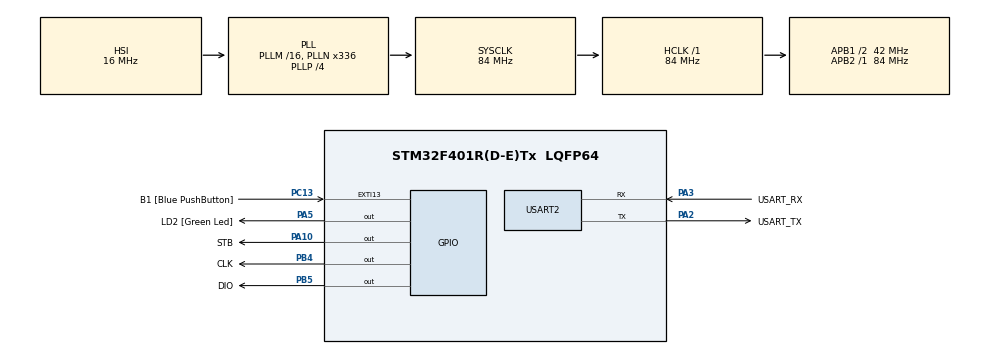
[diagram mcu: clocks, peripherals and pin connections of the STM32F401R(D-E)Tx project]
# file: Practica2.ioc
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Mcu.Family=STM32F4
Mcu.Name=STM32F401R(D-E)Tx
Mcu.Package=LQFP64
NVIC.PriorityGroup=NVIC_PRIORITYGROUP_4
PA10.GPIO_Label=STB
PA10.Signal=GPIO_Output
PA13.GPIO_Label=TMS
PA13.Mode=Trace_Asynchronous_SW
PA13.Signal=SYS_JTMS-SWDIO
PA14.GPIO_Label=TCK
PA14.Mode=Trace_Asynchronous_SW
PA14.Signal=SYS_JTCK-SWCLK
PA2.GPIO_Label=USART_TX
PA2.GPIO_Mode=GPIO_MODE_AF_PP
PA2.GPIO_PuPd=GPIO_NOPULL
PA2.GPIO_Speed=GPIO_SPEED_FREQ_LOW
PA2.Mode=Asynchronous
PA2.Signal=USART2_TX
PA3.GPIO_Label=USART_RX
PA3.GPIO_Mode=GPIO_MODE_AF_PP
PA3.GPIO_PuPd=GPIO_NOPULL
PA3.GPIO_Speed=GPIO_SPEED_FREQ_LOW
PA3.Mode=Asynchronous
PA3.Signal=USART2_RX
PA5.GPIO_Label=LD2 [Green Led]
PA5.GPIO_Mode=GPIO_MODE_OUTPUT_PP
PA5.GPIO_PuPd=GPIO_NOPULL
PA5.GPIO_Speed=GPIO_SPEED_FREQ_LOW
PA5.Signal=GPIO_Output
PB3.GPIO_Label=SWO
PB3.Mode=Trace_Asynchronous_SW
PB3.Signal=SYS_JTDO-SWO
PB4.GPIO_Label=CLK
PB4.Signal=GPIO_Output
PB5.GPIO_Label=DIO
PB5.Signal=GPIO_Output
PC13-ANTI_TAMP.GPIO_Label=B1 [Blue PushButton]
PC13-ANTI_TAMP.GPIO_ModeDefaultEXTI=GPIO_MODE_IT_FALLING
PC13-ANTI_TAMP.GPIO_PuPd=GPIO_NOPULL
PC13-ANTI_TAMP.Signal=GPXTI13
PC14-OSC32_IN.Mode=LSE-External-Oscillator
PC14-OSC32_IN.Signal=RCC_OSC32_IN
PC15-OSC32_OUT.Mode=LSE-External-Oscillator
PC15-OSC32_OUT.Signal=RCC_OSC32_OUT
PH0\ -\ OSC_IN.Mode=HSE-External-Clock-Source
PH0\ -\ OSC_IN.Signal=RCC_OSC_IN
PH1\ -\ OSC_OUT.Mode=HSE-External-Clock-Source
PH1\ -\ OSC_OUT.Signal=RCC_OSC_OUT
ProjectManager.HeapSize=0x200
ProjectManager.StackSize=0x400
ProjectManager.TargetToolchain=STM32CubeIDE
RCC.48MHZClocksFreq_Value=48000000
RCC.AHBFreq_Value=84000000
RCC.APB1CLKDivider=RCC_HCLK_DIV2
RCC.APB1Freq_Value=42000000
RCC.APB1TimFreq_Value=84000000
RCC.APB2Freq_Value=84000000
RCC.APB2TimFreq_Value=84000000
RCC.CortexFreq_Value=84000000
RCC.HCLKFreq_Value=84000000
RCC.HSE_VALUE=8000000
RCC.HSI_VALUE=16000000
RCC.PLLN=336
RCC.PLLP=RCC_PLLP_DIV4
RCC.PLLQ=7
RCC.SYSCLKFreq_VALUE=84000000
RCC.SYSCLKSource=RCC_SYSCLKSOURCE_PLLCLK
RCC.VCOOutputFreq_Value=336000000
USART2.VirtualMode=VM_ASYNC
board=NUCLEO-F401RE

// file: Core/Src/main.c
/* USER CODE BEGIN Header */
/**
  ******************************************************************************
  * @file           : main.c
  * @brief          : Main program body
  ******************************************************************************
  * @attention
  *
  * Copyright (c) 2026 STMicroelectronics.
  * All rights reserved.
  *
  * This software is licensed under terms that can be found in the LICENSE file
  * in the root directory of this software component.
  * If no LICENSE file comes with this software, it is provided AS-IS.
  *
  ******************************************************************************
  */
/* USER CODE END Header */
#include <stdio.h>
#include "main.h"
#include "TM1638.h"

/* USER CODE BEGIN PTD */
TM1638 TM;
#define RECORRIDO_CM 300
#define PASO_CM 3
#define TICK_MOV_MS 100
#define ANTIRREBOTE_MS 50
/* USER CODE END PTD */

UART_HandleTypeDef huart2;

void SystemClock_Config(void);
static void MX_GPIO_Init(void);
static void MX_USART2_UART_Init(void);

/* USER CODE BEGIN 0 */

enum Estado{
	CERRADO,
	ABRIENDO,
	ABIERTO,
	CERRANDO,
	PARADO_ABRIENDO,
	PARADO_CERRANDO,
	PARADO_FOTOCELULA
};

bool detectarFlanco(){ //Codigo antirrebotes dado
	static bool estable=false;
	static bool ultimo=false;
	static uint32_t tCambio=0;
	bool crudo=(HAL_GPIO_ReadPin(B1_GPIO_Port, B1_Pin)==GPIO_PIN_RESET);
	//Si no coincide es que el boton se pulso
	if(crudo!=ultimo){
		ultimo=crudo;
		tCambio=HAL_GetTick();
	}
	if((HAL_GetTick()-tCambio)>=ANTIRREBOTE_MS && crudo!=estable){
		estable=crudo;
		return estable;
	}
	return false;
}

void controlPanel(enum Estado estado, int posicion){
	//Control de la pantalla. Los sprint son para convertir a string, como las funciones de hae
	char texto[9];
	switch(estado){
		case CERRADO:
			tm1638_DisplayTxt(&TM, "cErrAdA");
			break;
		case ABRIENDO:
			sprintf(texto, "%2d", posicion);
			tm1638_DisplayTxt(&TM,texto);
			break;
		case ABIERTO:
			tm1638_DisplayTxt(&TM, "AbiErtA");
			break;
		case CERRANDO:
			sprintf(texto, "%2d", posicion);
			tm1638_DisplayTxt(&TM,texto);
			break;
		case PARADO_ABRIENDO:
		case PARADO_CERRANDO:
		case PARADO_FOTOCELULA:
			tm1638_DisplayTxt(&TM, "PArAdA");
			break;
	}
	//Control de los leds
	int ledsEncendidos=(posicion*8)/RECORRIDO_CM;
	for(int i=1; i<=8; i++){
		if(i<=ledsEncendidos){
			tm1638_Led(&TM,i,1);
		}
		else{
			tm1638_Led(&TM,i,0);
		}
	}
}

/* USER CODE END 0 */

int main(void)
{

  /* MCU Configuration--------------------------------------------------------*/

  /* Reset of all peripherals, Initializes the Flash interface and the Systick. */
  HAL_Init();

  /* Configure the system clock */
  SystemClock_Config();

  /* Initialize all configured peripherals */
  MX_GPIO_Init();
  MX_USART2_UART_Init();
  //Como en hae, inicializacion de puertos y del display
  TM.clk_port = CLK_GPIO_Port;
  TM.clk_pin = CLK_Pin;
  TM.stb_port = STB_GPIO_Port;
  TM.stb_pin = STB_Pin;
  TM.dio_port = DIO_GPIO_Port;
  TM.dio_pin = DIO_Pin;

  tm1638_TurnOn(&TM, 7);
  tm1638_DisplayClear(&TM);

  enum Estado estado=CERRADO;
  int posicion=0;
  //static uint32_t tMov=0;

  /* Infinite loop */
  while (1)
  {
	  bool pulsacionBoton=detectarFlanco();
	  uint8_t teclas=tm1638_ScanButtons(&TM);
	  bool fotocelula=tm1638_KeyState(&TM, teclas, 1);

	  //Temporizacion de tiempos
	  static uint32_t tMov=0;
	  bool tick=(HAL_GetTick()-tMov)>=TICK_MOV_MS;
	  	  if(tick){
	  		  tMov+=TICK_MOV_MS;
	  }

	  switch(estado){
	  	  case CERRADO:
	  		  if(pulsacionBoton){
	  			  estado=ABRIENDO;
	  		  }
	  		  break;
	  	  case ABRIENDO:
	  		  if(pulsacionBoton){
	  			  estado=PARADO_ABRIENDO;
	  		  }
	  		  if(tick){
	  			  posicion+=PASO_CM;
	  			  if(posicion>=RECORRIDO_CM){
	  				  posicion=RECORRIDO_CM;
	  				  estado=ABIERTO;
	  			  }
	  		  }
	  		  break;
	  	  case ABIERTO:
	  		  if(pulsacionBoton){
	  			  estado=CERRANDO;
	  		  }
	  		  break;
	  	  case CERRANDO:
	  		  if(fotocelula){
	  			  estado=PARADO_FOTOCELULA;
	  		  }
	  		  else if(pulsacionBoton){
	  			  estado=PARADO_CERRANDO;
	  		  }
	  		  else if(tick){
	  			  posicion-=PASO_CM;
	  			  if(posicion<=0){
	  				  posicion=0;
	  				  estado=CERRADO;
	  			  }
	  		  }
	  		  break;
	  	  case PARADO_ABRIENDO:
	  		  if(pulsacionBoton){
	  			  estado=CERRANDO;
	  		  }
	  		  break;
	  	  case PARADO_CERRANDO:
	  		  if(pulsacionBoton){
	  			  estado=ABRIENDO;
	  		  }
	  		  break;
	  	  case PARADO_FOTOCELULA:
	  		  if(!fotocelula){
	  			  estado=CERRANDO;
	  		  }
	  		  break;
	  }
	  controlPanel(estado, posicion);
  }
}

void SystemClock_Config(void)
{
  RCC_OscInitTypeDef RCC_OscInitStruct = {0};
  RCC_ClkInitTypeDef RCC_ClkInitStruct = {0};

  /** Configure the main internal regulator output voltage
  */
  __HAL_RCC_PWR_CLK_ENABLE();
  __HAL_PWR_VOLTAGESCALING_CONFIG(PWR_REGULATOR_VOLTAGE_SCALE2);

  /** Initializes the RCC Oscillators according to the specified parameters
  * in the RCC_OscInitTypeDef structure.
  */
  RCC_OscInitStruct.OscillatorType = RCC_OSCILLATORTYPE_HSI;
  RCC_OscInitStruct.HSIState = RCC_HSI_ON;
  RCC_OscInitStruct.HSICalibrationValue = RCC_HSICALIBRATION_DEFAULT;
  RCC_OscInitStruct.PLL.PLLState = RCC_PLL_ON;
  RCC_OscInitStruct.PLL.PLLSource = RCC_PLLSOURCE_HSI;
  RCC_OscInitStruct.PLL.PLLM = 16;
  RCC_OscInitStruct.PLL.PLLN = 336;
  RCC_OscInitStruct.PLL.PLLP = RCC_PLLP_DIV4;
  RCC_OscInitStruct.PLL.PLLQ = 7;
  if (HAL_RCC_OscConfig(&RCC_OscInitStruct) != HAL_OK)
  {
    Error_Handler();
  }

  /** Initializes the CPU, AHB and APB buses clocks
  */
  RCC_ClkInitStruct.ClockType = RCC_CLOCKTYPE_HCLK|RCC_CLOCKTYPE_SYSCLK
                              |RCC_CLOCKTYPE_PCLK1|RCC_CLOCKTYPE_PCLK2;
  RCC_ClkInitStruct.SYSCLKSource = RCC_SYSCLKSOURCE_PLLCLK;
  RCC_ClkInitStruct.AHBCLKDivider = RCC_SYSCLK_DIV1;
  RCC_ClkInitStruct.APB1CLKDivider = RCC_HCLK_DIV2;
  RCC_ClkInitStruct.APB2CLKDivider = RCC_HCLK_DIV1;

  if (HAL_RCC_ClockConfig(&RCC_ClkInitStruct, FLASH_LATENCY_2) != HAL_OK)
  {
    Error_Handler();
  }
}

static void MX_USART2_UART_Init(void)
{

  huart2.Instance = USART2;
  huart2.Init.BaudRate = 115200;
  huart2.Init.WordLength = UART_WORDLENGTH_8B;
  huart2.Init.StopBits = UART_STOPBITS_1;
  huart2.Init.Parity = UART_PARITY_NONE;
  huart2.Init.Mode = UART_MODE_TX_RX;
  huart2.Init.HwFlowCtl = UART_HWCONTROL_NONE;
  huart2.Init.OverSampling = UART_OVERSAMPLING_16;
  if (HAL_UART_Init(&huart2) != HAL_OK)
  {
    Error_Handler();
  }

}

static void MX_GPIO_Init(void)
{
  GPIO_InitTypeDef GPIO_InitStruct = {0};

  /* GPIO Ports Clock Enable */
  __HAL_RCC_GPIOC_CLK_ENABLE();
  __HAL_RCC_GPIOH_CLK_ENABLE();
  __HAL_RCC_GPIOA_CLK_ENABLE();
  __HAL_RCC_GPIOB_CLK_ENABLE();

  /*Configure GPIO pin Output Level */
  HAL_GPIO_WritePin(GPIOA, LD2_Pin|STB_Pin, GPIO_PIN_RESET);

  /*Configure GPIO pin Output Level */
  HAL_GPIO_WritePin(GPIOB, CLK_Pin|DIO_Pin, GPIO_PIN_RESET);

  /*Configure GPIO pin : B1_Pin */
  GPIO_InitStruct.Pin = B1_Pin;
  GPIO_InitStruct.Mode = GPIO_MODE_IT_FALLING;
  GPIO_InitStruct.Pull = GPIO_NOPULL;
  HAL_GPIO_Init(B1_GPIO_Port, &GPIO_InitStruct);

  /*Configure GPIO pins : LD2_Pin STB_Pin */
  GPIO_InitStruct.Pin = LD2_Pin|STB_Pin;
  GPIO_InitStruct.Mode = GPIO_MODE_OUTPUT_PP;
  GPIO_InitStruct.Pull = GPIO_NOPULL;
  GPIO_InitStruct.Speed = GPIO_SPEED_FREQ_LOW;
  HAL_GPIO_Init(GPIOA, &GPIO_InitStruct);

  /*Configure GPIO pins : CLK_Pin DIO_Pin */
  GPIO_InitStruct.Pin = CLK_Pin|DIO_Pin;
  GPIO_InitStruct.Mode = GPIO_MODE_OUTPUT_PP;
  GPIO_InitStruct.Pull = GPIO_NOPULL;
  GPIO_InitStruct.Speed = GPIO_SPEED_FREQ_LOW;
  HAL_GPIO_Init(GPIOB, &GPIO_InitStruct);

}

void Error_Handler(void)
{
  __disable_irq();
  while (1)
  {
  }
}
